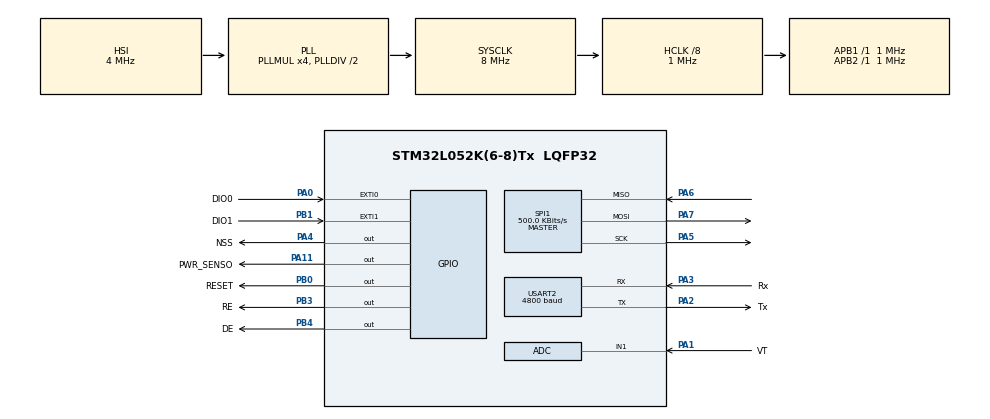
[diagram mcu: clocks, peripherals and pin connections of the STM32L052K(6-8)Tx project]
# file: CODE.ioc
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ADC.ClockPrescaler=ADC_CLOCK_ASYNC_DIV1
ADC.SamplingTime=ADC_SAMPLETIME_3CYCLES_5
Mcu.Family=STM32L0
Mcu.Name=STM32L052K(6-8)Tx
Mcu.Package=LQFP32
NVIC.ADC1_COMP_IRQn=true\:1\:0\:true\:false\:true\:true\:true\:true
NVIC.EXTI0_1_IRQn=true\:1\:0\:true\:false\:true\:true\:true\:true
NVIC.FLASH_IRQn=true\:0\:0\:false\:false\:true\:true\:true\:true
NVIC.PVD_IRQn=true\:1\:0\:true\:false\:true\:true\:true\:true
NVIC.RCC_CRS_IRQn=true\:0\:0\:true\:false\:true\:true\:false\:true
NVIC.RTC_IRQn=true\:0\:0\:false\:false\:true\:true\:true\:true
NVIC.SPI1_IRQn=true\:1\:0\:true\:false\:true\:true\:true\:true
NVIC.USART2_IRQn=true\:1\:0\:true\:false\:true\:true\:true\:true
PA0.GPIO_Label=DIO0
PA0.Signal=GPXTI0
PA1.GPIO_Label=VT
PA1.Mode=IN1
PA1.Signal=ADC_IN1
PA11.GPIO_Label=PWR_SENSO
PA11.Signal=GPIO_Output
PA13.Mode=Serial_Wire
PA13.Signal=SYS_SWDIO
PA14.Mode=Serial_Wire
PA14.Signal=SYS_SWCLK
PA2.GPIO_Label=Tx
PA2.Mode=Asynchronous
PA2.Signal=USART2_TX
PA3.GPIO_Label=Rx
PA3.Mode=Asynchronous
PA3.Signal=USART2_RX
PA4.GPIO_Label=NSS
PA4.GPIO_Speed=GPIO_SPEED_FREQ_LOW
PA4.Signal=GPIO_Output
PA5.Mode=Full_Duplex_Master
PA5.Signal=SPI1_SCK
PA6.Mode=Full_Duplex_Master
PA6.Signal=SPI1_MISO
PA7.Mode=Full_Duplex_Master
PA7.Signal=SPI1_MOSI
PB0.GPIO_Label=RESET
PB0.Signal=GPIO_Output
PB1.GPIO_Label=DIO1
PB1.Signal=GPXTI1
PB3.GPIO_Label=RE
PB3.Signal=GPIO_Output
PB4.GPIO_Label=DE
PB4.Signal=GPIO_Output
PC14-OSC32_IN.Mode=LSE-External-Oscillator
PC14-OSC32_IN.Signal=RCC_OSC32_IN
PC15-OSC32_OUT.Mode=LSE-External-Oscillator
PC15-OSC32_OUT.Signal=RCC_OSC32_OUT
ProjectManager.HeapSize=0x200
ProjectManager.StackSize=0x400
ProjectManager.TargetToolchain=STM32CubeIDE
RCC.ADCFreq_Value=4000000
RCC.AHBCLKDivider=RCC_SYSCLK_DIV8
RCC.AHBFreq_Value=1000000
RCC.APB1Freq_Value=1000000
RCC.APB1TimFreq_Value=1000000
RCC.APB2Freq_Value=1000000
RCC.APB2TimFreq_Value=1000000
RCC.DATA_CACHE_ENABLE=1
RCC.HCLKFreq_Value=1000000
RCC.HSI16_VALUE=16000000
RCC.HSI48_VALUE=48000000
RCC.HSIRCDiv=4
RCC.HSI_VALUE=4000000
RCC.MSIClockRange=RCC_MSIRANGE_2
RCC.MSI_VALUE=262144
RCC.PLLMUL=RCC_PLLMUL_4
RCC.PREFETCH_ENABLE=1
RCC.RTCClockSelectionVirtual=RCC_RTCCLKSOURCE_LSE
RCC.SYSCLKFreq_VALUE=8000000
RCC.SYSCLKSource=RCC_SYSCLKSOURCE_PLLCLK
RCC.Usart1ClockSelection=RCC_USART1CLKSOURCE_SYSCLK
RCC.VCOOutputFreq_Value=16000000
RTC.Alarm=RTC_ALARM_A
SPI1.CLKPolarity=SPI_POLARITY_LOW
SPI1.CalculateBaudRate=500.0 KBits/s
SPI1.Direction=SPI_DIRECTION_2LINES
SPI1.Mode=SPI_MODE_MASTER
SPI1.VirtualType=VM_MASTER
USART2.BaudRate=4800
USART2.VirtualMode-Asynchronous=VM_ASYNC
VP_RTC_VS_RTC_Activate.Mode=RTC_Enabled
VP_RTC_VS_RTC_Alarm_A_Intern.Mode=Alarm A
VP_RTC_VS_RTC_Calendar.Mode=RTC_Calendar
board=custom

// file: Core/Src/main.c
/* USER CODE BEGIN Header */
/**
 ******************************************************************************
 * @file           : main.c
 * @brief          : Main program body
 ******************************************************************************
 * @attention
 *
 * Copyright (c) 2023 STMicroelectronics.
 * All rights reserved.
 *
 * This software is licensed under terms that can be found in the LICENSE file
 * in the root directory of this software component.
 * If no LICENSE file comes with this software, it is provided AS-IS.
 *
 ******************************************************************************
 */
/* USER CODE END Header */
#include "main.h"

/* USER CODE BEGIN Includes */
#include "stdio.h"

#include "senso.h"
#include "lora.h"
#include "power.h"

#include "ewg.h"
#include "rfm95.h"
#include "battery.h"

#include "handle.h"
#include "config.h"
#include "string.h"
/* USER CODE END Includes */

ADC_HandleTypeDef hadc;

RTC_HandleTypeDef hrtc;

SPI_HandleTypeDef hspi1;

UART_HandleTypeDef huart2;

/* USER CODE BEGIN PV */
EWG_HandleTypedef ewg = { 0 };
RFM95_HandleTypeDef rfm95w = { 0 };

LEVEL_HandleTypedef *level;
LORA_HandleTypeDef *lora;
POWER_HandleTypeDef *powerPtr;
CFG_HandleTypeDef *device;

uint8_t irqLoRaFlag = 0;

/* USER CODE END PV */

void SystemClock_Config(void);
static void MX_GPIO_Init(void);
static void MX_SPI1_Init(void);
static void MX_USART2_UART_Init(void);
static void MX_ADC_Init(void);
static void MX_RTC_Init(void);
/* USER CODE BEGIN PFP */
void HAL_GPIO_EXTI_Callback(uint16_t GPIO_Pin) {
	/* Wake up MCU from stop mode by any EXTI line */
	if (GPIO_Pin == rfm95w.dio0) {
		/* Set flag to read LoRa message */
		irqLoRaFlag = 1;
	}
}

void HAL_UARTEx_RxEventCallback(UART_HandleTypeDef *huart, uint16_t Size) {
	if (huart->Instance == USART2) {
		SENSOR_process(level, Size);
	}
	if (huart->Instance == USART1) {
		HAL_PWR_DisableSleepOnExit();
	}
}
/* USER CODE END PFP */

/* USER CODE BEGIN 0 */
void CFG_Init() {
	CFG_HandleTypeDef cfg = { 0 };
	device = &cfg;

	//  CFG_getID(device);
	//  CFG_getMaster(device);

	CFG_setDeviceID(device, "0982586020", strlen("0982586020"));
	CFG_setDeviceMaster(device, "0982586020", strlen("0982586020"));

	CFG_writeEEPROM(device);
}

void EWG_begin() {
	level = (LEVEL_HandleTypedef*) &ewg;

	ewg.section = 4;
	level->levenInit = (levenInit) &EWG_init;
	level->levenDeInit = (levenDeInit) &EWG_deInit;
	level->levenProcess = (levenProcess) &EWG_process;
	level->levenGetConfig = (levenGetConfig) &EWG_getConfig;
	level->levsenSetSection = (levsenSetSection) &EWG_setSection;
	level->levenGetLevel = (levenGetLevel) &EWG_getLevel;

	if (SENSOR_init(level) == CTL_OK) {
		print("SENSOR OK");
	} else {
		print("SENSOR ERROR");
	}

	// SENSO_readEEPROM(&level);
	// SENSO_writeEEPROM(&level);
}

void LORA_begin() {
	lora = (LORA_HandleTypeDef*) &rfm95w;

	rfm95w.resetPort = RESET_GPIO_Port;
	rfm95w.resetPin = RESET_Pin;
	rfm95w.nssPort = NSS_GPIO_Port;
	rfm95w.nssPin = NSS_Pin;
	rfm95w.dio0Port = DIO0_GPIO_Port;
	rfm95w.dio0 = DIO0_Pin;
	rfm95w.hspi = &hspi1;

	rfm95w.parent.init = (loraInit) &RFM95_init;
	rfm95w.parent.transmit = (loraTransmit) &RFM95_transmit;
	rfm95w.parent.receive = (loraReceive) &RFM95_receiveContinuous;
	rfm95w.parent.startReceiveIT = (loraStartReceiveOnIRQ) &RFM95_startReceiveIT;
	rfm95w.parent.receiveIT = (loraReceiveOnIRQ) &RFM95_receiveIT;
	rfm95w.parent.shutdown = (loraShutdown) &RFM95_shutdown;
	rfm95w.parent.getRSSI = (loraGetRSSI) &RFM95_getRSSI;

	if (LORA_init(lora) == CTL_OK) {
		print("LORA OK");
	} else {
		print("LORA ERROR");
	}
}

uint8_t CTL_CRC8XOR(const uint8_t *array, size_t size) {
	uint8_t value = 0;
	for (size_t i = 0; i < size; i++) {
		value ^= array[i];
	}
	return value;
}

void processValue() {
	float senso;
	uint8_t messLora[6] = { 0 };
	senso = SENSOR_getNewValue(level);

	char buff[100] = { 0 };
	sprintf(buff, "VALUE = %f", senso);
	print(buff);

	char *id = CFG_getDeviceID(device);
	char *master = CFG_getDeviceMaster(device);

	messLora[0] = CTL_CRC8XOR((uint8_t*) id, strlen(id));
	messLora[1] = CTL_CRC8XOR((uint8_t*) master, strlen(master));
	messLora[2] = (uint8_t) senso;
	messLora[3] = POWER_getBatVoltage(powerPtr);
	messLora[4] = POWER_getBatPercent(powerPtr);
	messLora[5] = CTL_CRC8XOR(messLora, 5);
	LORA_transmit(lora, messLora, 6, 1000);
	NVIC_SystemReset();
}

void loraHandle() {
	enum {
		LORA_RESPONSE_SIZE = 4
	};
	uint8_t msgResLoRa[LORA_RESPONSE_SIZE] = { 0 };
	uint8_t messLora[4] = { 0 };

	char id[CFG_DEVICE_ID_SIZE] = { 0 };
	char master[CFG_DEVICE_ID_SIZE] = { 0 };

	for (size_t i = 0; i < CFG_DEVICE_ID_SIZE - 1; i++) {
		id[i] = *(volatile uint8_t*) (CFG_EEPROM_DEVICE_ID + i);
	}

	for (size_t i = 0; i < CFG_MASTER_ID_SIZE - 1; i++) {
		master[i] = *(volatile uint8_t*) (CFG_EEPROM_MASTER_ID + i);
	}

	messLora[0] = CTL_CRC8XOR((uint8_t*) id, strlen(id));
	messLora[1] = CTL_CRC8XOR((uint8_t*) master, strlen(master));
	messLora[2] = 0x01;
	messLora[3] = CTL_CRC8XOR(messLora, 3);

	LORA_startReceiveIT(lora);
	uint16_t timeStap = HAL_GetTick();
	while (HAL_GetTick() - timeStap < 60000) {
		if (irqLoRaFlag) {
			irqLoRaFlag = 0;
			LORA_receiveIT(lora, msgResLoRa, LORA_RESPONSE_SIZE);
			if (msgResLoRa[0] == messLora[0] && msgResLoRa[1] == messLora[1]
					&& msgResLoRa[3] == messLora[3]) {
				processValue();
			}
			break;
		}
	}
}

void POWER_Init(void) {
	printf("%s\n", __FUNCTION__);
	/* Khởi tạo biến tĩnh để các giá trị khởi tạo không bị mất đi */
	static BATTERY_HandleTypeDef battery = { 0 };

	/* Khởi tạo giá trị cho con tr�?, biến con tr�? là biến toàn cục */
	powerPtr = (POWER_HandleTypeDef*) &battery;

	/* Khởi tạo giá trị của các member của struct */
	battery.hadc = &hadc;
	battery.parent.getPercent = (powerGetPercent) &BATTERY_getBatteryPercent;
	battery.parent.getPowerState = (powerGetPowerState) &BATTERY_getPowerState;
	battery.parent.getVoltage = (powerGetVoltage) &BATTERY_getBatteryVoltage;
	battery.parent.init = (powerInit) &BATTERY_init;

	/* Khởi tạo nguồn */
	if (CTL_ERROR == POWER_init(powerPtr)) {
		printf("Power init fail!\n");
	} else {
		/* Bật c�? cho phép cảnh báo pin yếu ngay khi khởi động thiết bị */
		POWER_SET_FLAG(powerPtr, POWER_FLAG_WARNEN);
		POWER_getBatPercent(powerPtr);
		// printf("Power Voltage: %.2fV\n", POWER_getBatVoltage(powerPtr));
	}
}
/* USER CODE END 0 */

int main(void)
{

  /* MCU Configuration--------------------------------------------------------*/

  /* Reset of all peripherals, Initializes the Flash interface and the Systick. */
  HAL_Init();

  /* Configure the system clock */
  SystemClock_Config();

  /* Initialize all configured peripherals */
  MX_GPIO_Init();
  MX_SPI1_Init();
  MX_USART2_UART_Init();
  MX_ADC_Init();
  MX_RTC_Init();
  /* USER CODE BEGIN 2 */

	print("EWG TO LORA");
	CFG_Init();
	POWER_Init();
	LORA_begin();
	EWG_begin();
	processValue();

  /* USER CODE END 2 */

  /* Infinite loop */
	while (1) {

    /* USER CODE BEGIN 3 */
		//loraHandle();
	}
  /* USER CODE END 3 */
}

void SystemClock_Config(void)
{
  RCC_OscInitTypeDef RCC_OscInitStruct = {0};
  RCC_ClkInitTypeDef RCC_ClkInitStruct = {0};
  RCC_PeriphCLKInitTypeDef PeriphClkInit = {0};

  /** Configure the main internal regulator output voltage
  */
  __HAL_PWR_VOLTAGESCALING_CONFIG(PWR_REGULATOR_VOLTAGE_SCALE1);

  /** Configure LSE Drive Capability
  */
  HAL_PWR_EnableBkUpAccess();
  __HAL_RCC_LSEDRIVE_CONFIG(RCC_LSEDRIVE_LOW);

  /** Initializes the RCC Oscillators according to the specified parameters
  * in the RCC_OscInitTypeDef structure.
  */
  RCC_OscInitStruct.OscillatorType = RCC_OSCILLATORTYPE_HSI|RCC_OSCILLATORTYPE_LSE;
  RCC_OscInitStruct.LSEState = RCC_LSE_ON;
  RCC_OscInitStruct.HSIState = RCC_HSI_DIV4;
  RCC_OscInitStruct.HSICalibrationValue = RCC_HSICALIBRATION_DEFAULT;
  RCC_OscInitStruct.PLL.PLLState = RCC_PLL_ON;
  RCC_OscInitStruct.PLL.PLLSource = RCC_PLLSOURCE_HSI;
  RCC_OscInitStruct.PLL.PLLMUL = RCC_PLLMUL_4;
  RCC_OscInitStruct.PLL.PLLDIV = RCC_PLLDIV_2;
  if (HAL_RCC_OscConfig(&RCC_OscInitStruct) != HAL_OK)
  {
    Error_Handler();
  }

  /** Initializes the CPU, AHB and APB buses clocks
  */
  RCC_ClkInitStruct.ClockType = RCC_CLOCKTYPE_HCLK|RCC_CLOCKTYPE_SYSCLK
                              |RCC_CLOCKTYPE_PCLK1|RCC_CLOCKTYPE_PCLK2;
  RCC_ClkInitStruct.SYSCLKSource = RCC_SYSCLKSOURCE_PLLCLK;
  RCC_ClkInitStruct.AHBCLKDivider = RCC_SYSCLK_DIV8;
  RCC_ClkInitStruct.APB1CLKDivider = RCC_HCLK_DIV1;
  RCC_ClkInitStruct.APB2CLKDivider = RCC_HCLK_DIV1;

  if (HAL_RCC_ClockConfig(&RCC_ClkInitStruct, FLASH_LATENCY_0) != HAL_OK)
  {
    Error_Handler();
  }
  PeriphClkInit.PeriphClockSelection = RCC_PERIPHCLK_USART2|RCC_PERIPHCLK_RTC;
  PeriphClkInit.Usart2ClockSelection = RCC_USART2CLKSOURCE_PCLK1;
  PeriphClkInit.RTCClockSelection = RCC_RTCCLKSOURCE_LSE;
  if (HAL_RCCEx_PeriphCLKConfig(&PeriphClkInit) != HAL_OK)
  {
    Error_Handler();
  }
}

static void MX_ADC_Init(void)
{

  ADC_ChannelConfTypeDef sConfig = {0};

  /** Configure the global features of the ADC (Clock, Resolution, Data Alignment and number of conversion)
  */
  hadc.Instance = ADC1;
  hadc.Init.OversamplingMode = DISABLE;
  hadc.Init.ClockPrescaler = ADC_CLOCK_ASYNC_DIV1;
  hadc.Init.Resolution = ADC_RESOLUTION_12B;
  hadc.Init.SamplingTime = ADC_SAMPLETIME_3CYCLES_5;
  hadc.Init.ScanConvMode = ADC_SCAN_DIRECTION_FORWARD;
  hadc.Init.DataAlign = ADC_DATAALIGN_RIGHT;
  hadc.Init.ContinuousConvMode = DISABLE;
  hadc.Init.DiscontinuousConvMode = DISABLE;
  hadc.Init.ExternalTrigConvEdge = ADC_EXTERNALTRIGCONVEDGE_NONE;
  hadc.Init.ExternalTrigConv = ADC_SOFTWARE_START;
  hadc.Init.DMAContinuousRequests = DISABLE;
  hadc.Init.EOCSelection = ADC_EOC_SINGLE_CONV;
  hadc.Init.Overrun = ADC_OVR_DATA_PRESERVED;
  hadc.Init.LowPowerAutoWait = DISABLE;
  hadc.Init.LowPowerFrequencyMode = DISABLE;
  hadc.Init.LowPowerAutoPowerOff = DISABLE;
  if (HAL_ADC_Init(&hadc) != HAL_OK)
  {
    Error_Handler();
  }

  /** Configure for the selected ADC regular channel to be converted.
  */
  sConfig.Channel = ADC_CHANNEL_1;
  sConfig.Rank = ADC_RANK_CHANNEL_NUMBER;
  if (HAL_ADC_ConfigChannel(&hadc, &sConfig) != HAL_OK)
  {
    Error_Handler();
  }

}

static void MX_RTC_Init(void)
{

  RTC_TimeTypeDef sTime = {0};
  RTC_DateTypeDef sDate = {0};
  RTC_AlarmTypeDef sAlarm = {0};

  /** Initialize RTC Only
  */
  hrtc.Instance = RTC;
  hrtc.Init.HourFormat = RTC_HOURFORMAT_24;
  hrtc.Init.AsynchPrediv = 127;
  hrtc.Init.SynchPrediv = 255;
  hrtc.Init.OutPut = RTC_OUTPUT_DISABLE;
  hrtc.Init.OutPutRemap = RTC_OUTPUT_REMAP_NONE;
  hrtc.Init.OutPutPolarity = RTC_OUTPUT_POLARITY_HIGH;
  hrtc.Init.OutPutType = RTC_OUTPUT_TYPE_OPENDRAIN;
  if (HAL_RTC_Init(&hrtc) != HAL_OK)
  {
    Error_Handler();
  }

  /** Initialize RTC and set the Time and Date
  */
  sTime.Hours = 0x0;
  sTime.Minutes = 0x0;
  sTime.Seconds = 0x0;
  sTime.DayLightSaving = RTC_DAYLIGHTSAVING_NONE;
  sTime.StoreOperation = RTC_STOREOPERATION_RESET;
  if (HAL_RTC_SetTime(&hrtc, &sTime, RTC_FORMAT_BCD) != HAL_OK)
  {
    Error_Handler();
  }
  sDate.WeekDay = RTC_WEEKDAY_MONDAY;
  sDate.Month = RTC_MONTH_JANUARY;
  sDate.Date = 0x1;
  sDate.Year = 0x0;

  if (HAL_RTC_SetDate(&hrtc, &sDate, RTC_FORMAT_BCD) != HAL_OK)
  {
    Error_Handler();
  }

  /** Enable the Alarm A
  */
  sAlarm.AlarmTime.Hours = 0x0;
  sAlarm.AlarmTime.Minutes = 0x0;
  sAlarm.AlarmTime.Seconds = 0x0;
  sAlarm.AlarmTime.SubSeconds = 0x0;
  sAlarm.AlarmTime.DayLightSaving = RTC_DAYLIGHTSAVING_NONE;
  sAlarm.AlarmTime.StoreOperation = RTC_STOREOPERATION_RESET;
  sAlarm.AlarmMask = RTC_ALARMMASK_NONE;
  sAlarm.AlarmSubSecondMask = RTC_ALARMSUBSECONDMASK_ALL;
  sAlarm.AlarmDateWeekDaySel = RTC_ALARMDATEWEEKDAYSEL_DATE;
  sAlarm.AlarmDateWeekDay = 0x1;
  sAlarm.Alarm = RTC_ALARM_A;
  if (HAL_RTC_SetAlarm_IT(&hrtc, &sAlarm, RTC_FORMAT_BCD) != HAL_OK)
  {
    Error_Handler();
  }

}

static void MX_SPI1_Init(void)
{

  /* SPI1 parameter configuration*/
  hspi1.Instance = SPI1;
  hspi1.Init.Mode = SPI_MODE_MASTER;
  hspi1.Init.Direction = SPI_DIRECTION_2LINES;
  hspi1.Init.DataSize = SPI_DATASIZE_8BIT;
  hspi1.Init.CLKPolarity = SPI_POLARITY_LOW;
  hspi1.Init.CLKPhase = SPI_PHASE_1EDGE;
  hspi1.Init.NSS = SPI_NSS_SOFT;
  hspi1.Init.BaudRatePrescaler = SPI_BAUDRATEPRESCALER_2;
  hspi1.Init.FirstBit = SPI_FIRSTBIT_MSB;
  hspi1.Init.TIMode = SPI_TIMODE_DISABLE;
  hspi1.Init.CRCCalculation = SPI_CRCCALCULATION_DISABLE;
  hspi1.Init.CRCPolynomial = 7;
  if (HAL_SPI_Init(&hspi1) != HAL_OK)
  {
    Error_Handler();
  }

}

static void MX_USART2_UART_Init(void)
{

  huart2.Instance = USART2;
  huart2.Init.BaudRate = 4800;
  huart2.Init.WordLength = UART_WORDLENGTH_8B;
  huart2.Init.StopBits = UART_STOPBITS_1;
  huart2.Init.Parity = UART_PARITY_NONE;
  huart2.Init.Mode = UART_MODE_TX_RX;
  huart2.Init.HwFlowCtl = UART_HWCONTROL_NONE;
  huart2.Init.OverSampling = UART_OVERSAMPLING_16;
  huart2.Init.OneBitSampling = UART_ONE_BIT_SAMPLE_DISABLE;
  huart2.AdvancedInit.AdvFeatureInit = UART_ADVFEATURE_NO_INIT;
  if (HAL_UART_Init(&huart2) != HAL_OK)
  {
    Error_Handler();
  }

}

static void MX_GPIO_Init(void)
{
  GPIO_InitTypeDef GPIO_InitStruct = {0};

  /* GPIO Ports Clock Enable */
  __HAL_RCC_GPIOC_CLK_ENABLE();
  __HAL_RCC_GPIOA_CLK_ENABLE();
  __HAL_RCC_GPIOB_CLK_ENABLE();

  /*Configure GPIO pin Output Level */
  HAL_GPIO_WritePin(GPIOA, NSS_Pin|PWR_SENSO_Pin, GPIO_PIN_RESET);

  /*Configure GPIO pin Output Level */
  HAL_GPIO_WritePin(GPIOB, RESET_Pin|RE_Pin|DE_Pin, GPIO_PIN_RESET);

  /*Configure GPIO pin : DIO0_Pin */
  GPIO_InitStruct.Pin = DIO0_Pin;
  GPIO_InitStruct.Mode = GPIO_MODE_IT_RISING;
  GPIO_InitStruct.Pull = GPIO_NOPULL;
  HAL_GPIO_Init(DIO0_GPIO_Port, &GPIO_InitStruct);

  /*Configure GPIO pins : NSS_Pin PWR_SENSO_Pin */
  GPIO_InitStruct.Pin = NSS_Pin|PWR_SENSO_Pin;
  GPIO_InitStruct.Mode = GPIO_MODE_OUTPUT_PP;
  GPIO_InitStruct.Pull = GPIO_NOPULL;
  GPIO_InitStruct.Speed = GPIO_SPEED_FREQ_LOW;
  HAL_GPIO_Init(GPIOA, &GPIO_InitStruct);

  /*Configure GPIO pins : RESET_Pin RE_Pin DE_Pin */
  GPIO_InitStruct.Pin = RESET_Pin|RE_Pin|DE_Pin;
  GPIO_InitStruct.Mode = GPIO_MODE_OUTPUT_PP;
  GPIO_InitStruct.Pull = GPIO_NOPULL;
  GPIO_InitStruct.Speed = GPIO_SPEED_FREQ_LOW;
  HAL_GPIO_Init(GPIOB, &GPIO_InitStruct);

  /*Configure GPIO pin : DIO1_Pin */
  GPIO_InitStruct.Pin = DIO1_Pin;
  GPIO_InitStruct.Mode = GPIO_MODE_IT_RISING;
  GPIO_InitStruct.Pull = GPIO_NOPULL;
  HAL_GPIO_Init(DIO1_GPIO_Port, &GPIO_InitStruct);

  /* EXTI interrupt init*/
  HAL_NVIC_SetPriority(EXTI0_1_IRQn, 1, 0);
  HAL_NVIC_EnableIRQ(EXTI0_1_IRQn);

}

void Error_Handler(void)
{
	__disable_irq();
	while (1) {
	}
}
